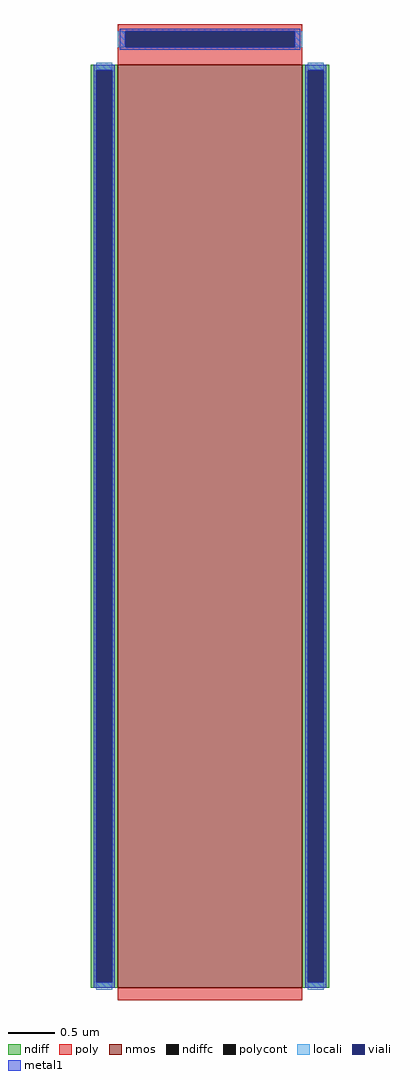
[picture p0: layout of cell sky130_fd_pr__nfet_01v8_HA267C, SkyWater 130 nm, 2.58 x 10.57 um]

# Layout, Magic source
magic
tech sky130A
magscale 1 2
<< nmos >>
rect -200 -1031 200 969
<< ndiff >>
rect -258 957 -200 969
rect -258 -1019 -246 957
rect -212 -1019 -200 957
rect -258 -1031 -200 -1019
rect 200 957 258 969
rect 200 -1019 212 957
rect 246 -1019 258 957
rect 200 -1031 258 -1019
<< ndiffc >>
rect -246 -1019 -212 957
rect 212 -1019 246 957
<< poly >>
rect -200 1041 200 1057
rect -200 1007 -184 1041
rect 184 1007 200 1041
rect -200 969 200 1007
rect -200 -1057 200 -1031
<< polycont >>
rect -184 1007 184 1041
<< locali >>
rect -200 1007 -184 1041
rect 184 1007 200 1041
rect -246 957 -212 973
rect -246 -1035 -212 -1019
rect 212 957 246 973
rect 212 -1035 246 -1019
<< viali >>
rect -184 1007 184 1041
rect -246 -1019 -212 957
rect 212 -1019 246 957
<< metal1 >>
rect -196 1041 196 1047
rect -196 1007 -184 1041
rect 184 1007 196 1041
rect -196 1001 196 1007
rect -252 957 -206 969
rect -252 -1019 -246 957
rect -212 -1019 -206 957
rect -252 -1031 -206 -1019
rect 206 957 252 969
rect 206 -1019 212 957
rect 246 -1019 252 957
rect 206 -1031 252 -1019
<< properties >>
string gencell sky130_fd_pr__nfet_01v8
string library sky130
string parameters w 10 l 2 m 1 nf 1 diffcov 100 polycov 100 guard 0 glc 1 grc 1 gtc 1 gbc 1 tbcov 100 rlcov 100 topc 1 botc 0 poverlap 0 doverlap 1 lmin 0.15 wmin 0.42 compatible {sky130_fd_pr__nfet_01v8 sky130_fd_pr__nfet_01v8_lvt  sky130_fd_bs_flash__special_sonosfet_star  sky130_fd_pr__nfet_g5v0d10v5 sky130_fd_pr__nfet_05v0_nvt  sky130_fd_pr__nfet_03v3_nvt} full_metal 0 viasrc 100 viadrn 100 viagate 100 viagb 0 viagr 0 viagl 0 viagt 0
<< end >>
